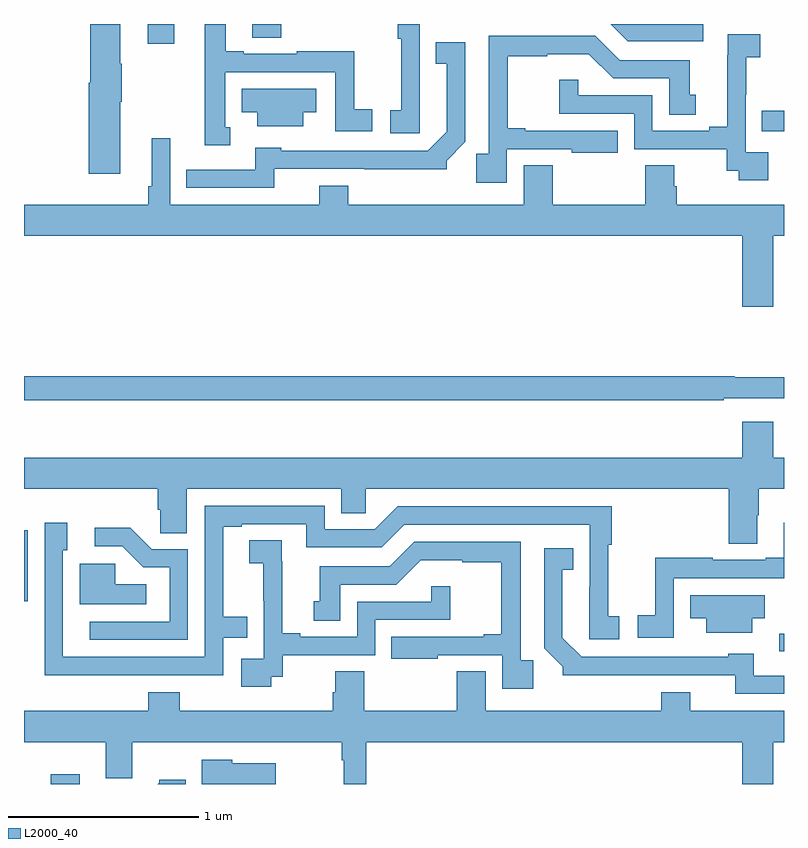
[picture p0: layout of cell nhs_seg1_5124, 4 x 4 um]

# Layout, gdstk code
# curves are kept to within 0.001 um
import gdstk
lib = gdstk.Library(unit=1e-6, precision=1e-09)
def R(c, l, rs):  # rectangles x0, y0, x1, y1
    for r in rs: c.add(gdstk.rectangle(r[:2], r[2:], *l))
def P(c, l, *ps):  # polygons
    for p in ps: c.add(gdstk.Polygon(p, *l))
L2000_40 = (2000, 40)

nhs_seg1_5124 = lib.new_cell('nhs_seg1_5124')
R(nhs_seg1_5124, L2000_40, [(389.141,530.199,389.293,530.251), (392.975,530.897,393,530.991), (389,531.162,389.019,531.534), (392.884,533.634,393,533.743), (389.651,534.096,389.791,534.199), (390.2,534.127,390.353,534.199)])
P(nhs_seg1_5124, L2000_40, [(391.084,533.9),(391.083,533.9),(391.083,534.199),(390.967,534.199),(390.967,534.121),(390.985,534.121),(390.985,533.745),(390.927,533.745),(390.927,533.625),(391.084,533.625)],
  [(390.085,533.655),(390.06,533.655),(390.06,533.946),(390.639,533.946),(390.639,533.634),(390.832,533.634),(390.832,533.75),(390.738,533.75),(390.738,534.055),(390.436,534.055),(390.436,534.042),(390.157,534.042),(390.157,534.055),(390.061,534.055),(390.061,534.199),(389.951,534.199),(389.951,533.993),(389.952,533.993),(389.952,533.561),(390.085,533.561)],
  [(392.574,534.199),(392.087,534.199),(392.178,534.108),(392.574,534.108)],
  [(389.506,533.789),(389.514,533.789),(389.514,533.989),(389.506,533.989),(389.506,534.199),(389.348,534.199),(389.348,533.889),(389.342,533.889),(389.342,533.412),(389.506,533.412)],
  [(392.917,533.523),(392.799,533.523),(392.799,533.827),(392.801,533.827),(392.801,534.025),(392.875,534.025),(392.875,534.146),(392.704,534.146),(392.704,534.035),(392.702,534.035),(392.702,533.657),(392.606,533.657),(392.606,533.637),(392.307,533.637),(392.307,533.823),(391.917,533.823),(391.917,533.905),(391.816,533.905),(391.816,533.727),(392.211,533.727),(392.211,533.541),(392.698,533.541),(392.698,533.427),(392.761,533.427),(392.761,533.376),(392.917,533.376)],
  [(391.542,533.541),(391.883,533.541),(391.883,533.522),(392.126,533.522),(392.126,533.637),(391.639,533.637),(391.639,533.65),(391.547,533.65),(391.547,534.03),(391.754,534.03),(391.754,534.041),(391.972,534.041),(392.1,533.913),(392.396,533.913),(392.396,533.722),(392.536,533.722),(392.536,533.826),(392.503,533.826),(392.503,534.009),(392.136,534.009),(392.007,534.138),(391.446,534.138),(391.446,533.515),(391.381,533.515),(391.381,533.364),(391.542,533.364)],
  [(390.318,533.436),(391.224,533.435),(391.224,533.479),(391.323,533.578),(391.323,534.103),(391.168,534.103),(391.168,533.99),(391.226,533.99),(391.226,533.633),(391.125,533.532),(390.354,533.532),(390.354,533.548),(390.218,533.548),(390.218,533.433),(389.854,533.433),(389.854,533.337),(390.318,533.337)],
  [(390.469,533.735),(390.538,533.735),(390.538,533.857),(390.145,533.857),(390.145,533.735),(390.227,533.735),(390.227,533.66),(390.469,533.66)],
  [(392.944,533.084),(393,533.084),(393,533.248),(392.435,533.248),(392.435,533.346),(392.422,533.346),(392.422,533.456),(392.27,533.456),(392.27,533.248),(391.784,533.248),(391.784,533.456),(391.631,533.456),(391.631,533.248),(390.707,533.248),(390.707,533.347),(390.554,533.347),(390.554,533.248),(389.769,533.248),(389.769,533.599),(389.672,533.599),(389.672,533.344),(389.653,533.344),(389.653,533.248),(389,533.248),(389,533.084),(392.78,533.084),(392.78,532.71),(392.944,532.71)],
  [(392.684,532.23),(393,532.23),(393,532.339),(392.74,532.339),(392.74,532.346),(389,532.346),(389,532.218),(392.684,532.218)],
  [(392.86,531.614),(392.868,531.614),(392.868,531.752),(393,531.752),(393,531.916),(392.944,531.916),(392.944,532.105),(392.78,532.105),(392.78,531.916),(389,531.916),(389,531.752),(389.705,531.752),(389.705,531.643),(389.718,531.643),(389.718,531.52),(389.857,531.52),(389.857,531.752),(390.671,531.752),(390.671,531.625),(390.798,531.625),(390.798,531.752),(392.708,531.752),(392.708,531.463),(392.86,531.463)],
  [(389.57,530.772),(390.048,530.772),(390.048,530.97),(390.176,530.97),(390.176,531.079),(390.049,531.079),(390.049,531.552),(390.145,531.552),(390.145,531.567),(390.486,531.567),(390.486,531.444),(390.882,531.444),(391.002,531.564),(391.977,531.564),(391.976,530.961),(392.134,530.961),(392.134,531.081),(392.076,531.081),(392.076,531.457),(392.093,531.457),(392.093,531.66),(390.966,531.66),(390.846,531.54),(390.582,531.54),(390.582,531.663),(389.952,531.663),(389.952,530.868),(389.205,530.868),(389.205,531.429),(389.227,531.429),(389.227,531.574),(389.109,531.574),(389.108,530.771)],
  [(392.421,531.282),(393,531.282),(393,531.574),(392.999,531.574),(392.999,531.391),(392.903,531.391),(392.903,531.378),(392.624,531.378),(392.624,531.391),(392.323,531.391),(392.323,531.086),(392.229,531.086),(392.229,530.97),(392.421,530.97)],
  [(389.862,531.435),(389.673,531.435),(389.56,531.548),(389.373,531.548),(389.373,531.45),(389.517,531.45),(389.628,531.339),(389.766,531.339),(389.766,531.054),(389.346,531.054),(389.346,530.958),(389.862,530.958)],
  [(390.3,530.763),(390.362,530.763),(390.362,530.877),(390.849,530.877),(390.849,531.063),(391.244,531.063),(391.244,531.241),(391.143,531.241),(391.143,531.159),(390.753,531.159),(390.753,530.973),(390.454,530.973),(390.454,530.993),(390.358,530.993),(390.358,531.371),(390.356,531.371),(390.356,531.482),(390.186,531.482),(390.186,531.361),(390.26,531.361),(390.26,531.163),(390.261,531.163),(390.261,530.859),(390.144,530.859),(390.144,530.712),(390.3,530.712)],
  [(391.679,530.851),(391.614,530.851),(391.614,531.474),(391.053,531.474),(390.924,531.345),(390.557,531.345),(390.557,531.162),(390.524,531.162),(390.524,531.058),(390.664,531.058),(390.664,531.249),(390.96,531.249),(391.088,531.377),(391.307,531.377),(391.307,531.366),(391.513,531.366),(391.513,530.986),(391.421,530.986),(391.421,530.973),(390.934,530.973),(390.934,530.858),(391.177,530.858),(391.177,530.877),(391.518,530.877),(391.518,530.7),(391.679,530.7)],
  [(393,530.769),(392.842,530.769),(392.842,530.884),(392.706,530.884),(392.706,530.868),(391.935,530.868),(391.834,530.969),(391.834,531.326),(391.892,531.326),(391.892,531.439),(391.737,531.439),(391.737,530.914),(391.836,530.815),(391.836,530.771),(392.743,530.772),(392.743,530.673),(393,530.673)],
  [(389.644,531.25),(389.481,531.25),(389.481,531.357),(389.294,531.357),(389.294,531.146),(389.644,531.146)],
  [(392.833,531.071),(392.899,531.071),(392.899,531.193),(392.506,531.193),(392.506,531.071),(392.591,531.071),(392.591,530.996),(392.833,530.996)],
  [(389,530.42),(389.429,530.42),(389.429,530.23),(389.569,530.23),(389.569,530.42),(390.672,530.42),(390.672,530.324),(390.684,530.324),(390.684,530.199),(390.8,530.199),(390.8,530.42),(392.78,530.42),(392.78,530.199),(392.944,530.199),(392.944,530.42),(393,530.42),(393,530.584),(392.506,530.584),(392.506,530.683),(392.354,530.683),(392.354,530.584),(391.429,530.584),(391.429,530.792),(391.277,530.792),(391.277,530.584),(390.791,530.584),(390.791,530.792),(390.638,530.792),(390.638,530.682),(390.626,530.682),(390.626,530.584),(389.819,530.584),(389.819,530.683),(389.654,530.683),(389.654,530.584),(389,530.584)],
  [(390.325,530.308),(390.096,530.308),(390.096,530.326),(389.936,530.326),(389.936,530.199),(390.325,530.199)],
  [(389.851,530.221),(389.712,530.221),(389.712,530.206),(389.705,530.199),(389.851,530.199)])

lib.write_gds('nhs_seg1_5124.gds')
